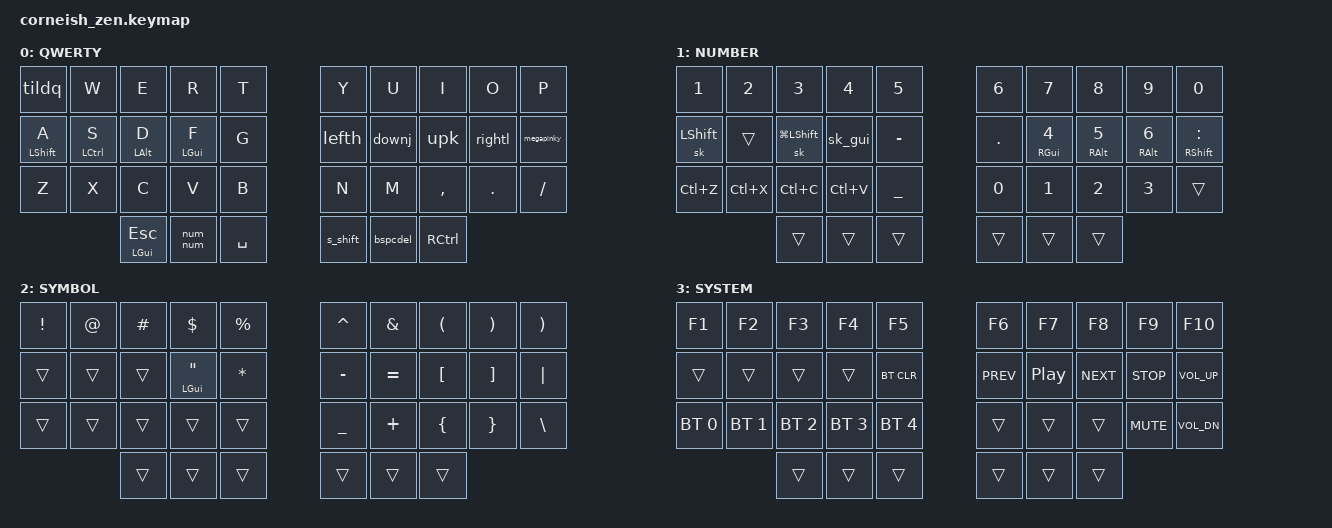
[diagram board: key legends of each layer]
/*                              36 KEY MATRIX / LAYOUT MAPPING
  ╭────────────────────┬────────────────────╮ ╭─────────────────────┬─────────────────────╮
  │  0   1   2   3   4 │  5   6   7   8   9 │ │ LT4 LT3 LT2 LT1 LT0 │ RT0 RT1 RT2 RT3 RT4 │
  │ 10  11  12  13  14 │ 15  16  17  18  19 │ │ LM4 LM3 LM2 LM1 LM0 │ RM0 RM1 RM2 RM3 RM4 │
  │ 20  21  22  23  24 │ 25  26  27  28  29 │ │ LB4 LB3 LB2 LB1 LB0 │ RB0 RB1 RB2 RB3 RB4 │
  ╰───────╮ 30  31  32 │ 33  34  35 ╭───────╯ ╰───────╮ LH2 LH1 LH0 │ RH0 RH1 RH2 ╭───────╯
          ╰────────────┴────────────╯                 ╰─────────────┴─────────────╯             */

#include <behaviors.dtsi>
#include <dt-bindings/zmk/keys.h>
#include <dt-bindings/zmk/bt.h>
#include "../zmk-nodefree-config/helper.h"
#include "../zmk-nodefree-config/keypos_def/keypos_36keys.h"

#define DEF 0
#define NUM 1 
#define SYM 2
#define SYS 3


/* use 5-column layout for Zen */
/ {
  chosen {
    zmk,matrix_transform = &five_column_transform;
  };
};

&caps_word {
    continue-list = <UNDERSCORE MINUS BSPC DEL N1 N2 N3 N4 N5 N6 N7 N8 N9 N0>;
};

/* Custom Behaviors , Require UROB ZMK patches */

// Conditional layer Hold both NUM and SYM layer key to activate SYS layer
ZMK_CONDITIONAL_LAYER(NUM SYM, SYS)

// [Home Row Mods]
ZMK_BEHAVIOR(hm, hold_tap,
    flavor = "balanced";
    tapping-term-ms = <280>;
    quick-tap-ms = <125>;
    require-prior-idle-ms = <150>; 
    bindings = <&kp>, <&kp>;
  )

// [ Mod Morphing definitions]

// tap: backspace | ralt + tap: delete | hold: sym layer
ZMK_BEHAVIOR(bspcdel, mod_morph,
    bindings = <&lt SYM BSPC>, <&kp DEL>;
    mods = <(MOD_RALT|MOD_LALT)>;
  )

// tap: Q | ralt + tap: ~  
ZMK_BEHAVIOR(tildq, mod_morph,
    bindings = <&kp Q>, <&kp TILDE>;
    mods = <(MOD_RALT|MOD_LALT)>;
  ) 

// tap: J | ralt + tap: down arrow | hold: RGUI 
ZMK_BEHAVIOR(downj, mod_morph,
    bindings = <&hm RGUI J>, <&kp DOWN>;
    mods = <(MOD_RALT|MOD_LALT)>;
  ) 

// tap: J | ralt + tap: down arrow | hold: RGUI 
ZMK_BEHAVIOR(upk, mod_morph,
    bindings = <&hm RALT K>, <&kp UP>;
    mods = <(MOD_RALT|MOD_LALT)>;
  )

// tap: L | ralt + tap: right arrow | hold: RCTL 
ZMK_BEHAVIOR(rightl, mod_morph,
    bindings = <&hm RCTRL L>, <&kp RIGHT>;
    mods = <(MOD_RALT|MOD_LALT)>;
  ) 

// tap: H | ralt + tap: left arrow  
ZMK_BEHAVIOR(lefth, mod_morph,
    bindings = <&kp H>, <&kp LEFT>;
    mods = <(MOD_RALT|MOD_LALT)>;
  )

// tap: ; | ralt + tap: ' | shift + tap: : | double tap: " 
ZMK_BEHAVIOR(megapinky, mod_morph,
   bindings = <&q_quote>, <&kp APOS>;
   mods = <(MOD_RALT|MOD_LALT)>;
  )
 
// [ Num_Word (like CAPS-WORDS) ]
&num_word {
   layers = <NUM>;                                
   continue-list = <BACKSPACE DELETE DOT COMMA COLON UNDERSCORE>; 
   ignore-numbers;                                
};

// [ Tap dance definitions ]

// SUPER_SHIFT tap: RETURN | hold: RSHIFT | double-tap: CAPS_WORD 
ZMK_BEHAVIOR(s_shift, tap_dance,
    tapping-term-ms = <200>;
    bindings = <&mt RSHFT RET>, <&caps_word>;
  )

// Sticky GUI tap: PLUS | hold:LGUI | double-tap: Sticky LGUI
ZMK_BEHAVIOR(sk_gui, tap_dance,
    tapping-term-ms = <200>;
    bindings = <&hm LGUI  PLUS>, <&sk LGUI>;
  )

// Quick Quotes tap: SEMI | hold: RSHIFT | double-tap: Double Quotes 
ZMK_BEHAVIOR(q_quote, tap_dance,
    tapping-term-ms = <200>;
    bindings = <&hm RSHFT SEMI>, <&kp DQT>;
  )

// Num Num tap: TAB | hold: NUM Layer | double-tap: &num_word 
ZMK_BEHAVIOR(num_num, tap_dance,
    tapping-term-ms = <200>;
    bindings = <&lt NUM TAB>, <&num_word>;
  )

// tick_tilda: tap: Q | ralt + tap: ~ | double-tap: `
ZMK_BEHAVIOR(tick_tilda, tap_dance,
    tapping-term-ms = <200>;
    bindings = <&tildq>, <&kp grave>;
  )

/* Key Mapping */

ZMK_LAYER(QWERTY,
// ╭──────────────┬─────────────┬─────────────┬─────────────┬─────────────╮      ╭─────────────┬─────────────┬──────────────┬─────────────┬─────────────╮
// │    Q/[`]/(~) │      W      │    E        │    R        │    T        │      │    Y        │    U        │    I         │    O        │    P        │
      &tildq           &kp W        &kp E         &kp R         &kp T                &kp Y         &kp U         &kp I          &kp O         &kp P      
// ├──────────────┼─────────────┼─────────────┼─────────────┼─────────────┤      ├─────────────┼─────────────┼──────────────┼─────────────┼─────────────┤
// │    A         │    S        │    D        │    F        │    G        │      │ H/(←)       │ J/RGUI/(↓)  │ K/RALT/(↑)   │ L/RCTRL/(→) │ ;/:/["]/(') │
     &hm LSHFT A     &hm LCTRL S  &hm LALT D    &hm LGUI F      &kp G                &lefth      &downj         &upk          &rightl       &megapinky      
// ├──────────────┼─────────────┼─────────────┼─────────────┼─────────────┤      ├─────────────┼─────────────┼──────────────┼─────────────┼─────────────┤
// │    Z         │    X        │    C        │    V        │    B        │      │    N        │    M        │    , <       │    . >      │    / ?      │
       &kp Z         &kp X         &kp C         &kp V         &kp B                 &kp N         &kp M         &kp COMMA      &kp DOT       &kp FSLH   
// ╰──────────────┴─────────────├─────────────┼─────────────┼─────────────┤      ├─────────────┼─────────────┼──────────────┼─────────────┴─────────────╯
//                              │  ESC/GUI     TAB/NUM/(NW) │    SPC      │      │ENT/SHFT/(CW)│BSP/SYM/[DEL]│    CTRL      │
                                  &mt LGUI ESC   &num_num      &kp SPACE             &s_shift    &bspcdel       &kp RCTRL    
//                              ╰─────────────┴─────────────┴─────────────╯      ╰─────────────┴─────────────┴──────────────╯
)

ZMK_LAYER(NUMBER,
// ╭─────────────┬─────────────┬─────────────┬─────────────┬─────────────╮       ╭─────────────┬─────────────┬─────────────┬─────────────┬─────────────╮
// │    1 !      │     2 @     │    3 #      │      4 $    │    5        │       │     6       │     7       │     8       │     9       │    0        │
     &kp N1         &kp N2        &kp N3          &kp N4       &kp N5                  &kp N6       &kp N7        &kp N8        &kp N9      &kp N0 
// ├─────────────┼─────────────┼─────────────┼─────────────┼─────────────┤       ├─────────────┼─────────────┼─────────────┼─────────────┼─────────────┤
// │             │             │             │+/LGUI/[LGUI]│    -        │       │     .       │     4       │     5       │     6       │   :         │
     &sk LSHIFT    &trans       &sk LG(LSHIFT)   &sk_gui      &kp MINUS             &kp DOT      &hm RGUI N4   &hm RALT N5   &hm RALT N6 &hm RSHFT COLON 
// ├─────────────┼─────────────┼─────────────┼─────────────┼─────────────┤       ├─────────────┼─────────────┼─────────────┼─────────────┼─────────────┤
// │  UNDO/bg%   │  CUT        │ COPY/SIGINIT   PASTE      │    _        │       │     0       │     1       │     2       │     3       │             │
      &kp LC(Z)     &kp LC(X)     &kp LC(C)    &kp LC(V)      &kp UNDER              &kp N0        &kp N1       &kp N2        &kp N3       &trans
// ╰─────────────┴─────────────┼─────────────┼─────────────┼─────────────┤       ├─────────────┼─────────────┼─────────────┼─────────────┴─────────────╯
//                             │             │             │             │       │             │             │             │                            
                                  &trans         &trans       &trans                &trans        &trans        &trans
//                             ╰─────────────┴─────────────┴─────────────╯       ╰─────────────┴─────────────┴─────────────╯
)

ZMK_LAYER(SYMBOL,
// ╭─────────────┬─────────────┬─────────────┬─────────────┬─────────────╮       ╭─────────────┬─────────────┬─────────────┬──────────────┬────────────╮
// │  !          │  @          │  #          │  $          │  %          │       │  ^          │  &          │  (          │  )           │  )         │
      &kp EXCL      &kp AT        &kp HASH      &kp DLLR      &kp PRCNT             &kp CARET     &kp AMPS     &kp LPAR       &kp RPAR       &kp RPAR    
// ├─────────────┼─────────────┼─────────────┼─────────────┼─────────────│       ├─────────────┼─────────────┼─────────────┼──────────────┼────────────┤
// │             │             │             │     "       │    *        │       │  ─          │  =          │  [          │  ]           │  "|"       │
      &trans        &trans        &trans      &hm LGUI DQT    &kp ASTRK             &kp MINUS     &kp EQUAL     &kp LBKT      &kp RBKT       &kp PIPE 
// ├─────────────┼─────────────┼─────────────┼─────────────┼─────────────│       ├─────────────┼─────────────┼─────────────┼─────────────┼─────────────┤
// │             │             │             │             │             │       │  ─          │  +          │  {          │  }          │    \        │
      &trans        &trans        &trans        &trans        &trans                &kp UNDER     &kp PLUS      &kp LBRC      &kp RBRC      &kp BSLH    
// ╰─────────────┴─────────────┼─────────────┼─────────────┼─────────────│       ├─────────────┼─────────────┼─────────────┼─────────────┴─────────────╯
//                             │             │             │             │       │             │             │             │                            
                                  &trans         &trans        &trans                &trans        &trans        &trans
//                             ╰─────────────┴─────────────┴─────────────╯       ╰─────────────┴─────────────┴─────────────╯
)

ZMK_LAYER(SYSTEM,
// ╭─────────────┬─────────────┬─────────────┬─────────────┬─────────────╮       ╭─────────────┬─────────────┬─────────────┬─────────────┬─────────────╮
// │             │             │             │             │             │       │             │             │             │             │             │
     &kp F1        &kp F2        &kp F3        &kp F4        &kp F5                 &kp F6      &kp F7        &kp F8        &kp F9        &kp F10
// ├─────────────┼─────────────┼─────────────┼─────────────┼─────────────┤       ├─────────────┼─────────────┼─────────────┼─────────────┼─────────────┤
// │             │             │             │             │  BT clear   │       │   CPREV     │ PLAY/PAUSE  │   NEXT      │    STOP     │    VOL UP   │
      &trans         &trans        &trans       &trans        &bt BT_CLR             &kp C_PREV     &kp C_PP     &kp C_NEXT   &kp C_STOP   &kp C_VOL_UP
// ├─────────────┼─────────────┼─────────────┼─────────────┼─────────────┤       ├─────────────┼─────────────┼─────────────┼─────────────┼─────────────┤
// │ BT0         │    BT1      │   BT2       │  BT3        │  BT4        │       │             │             │             │    MUTE     │   VOL UP    │
    &bt BT_SEL 0  &bt BT_SEL 1  &bt BT_SEL 2  &bt BT_SEL 3  &bt BT_SEL 4              &trans      &trans      &trans        &kp C_MUTE     &kp C_VOL_DN 
// ╰─────────────┴─────────────┼─────────────┼─────────────┼─────────────┤       ├─────────────┼─────────────┼─────────────┼─────────────┴─────────────╯
//                             │             │             │             │       │             │             │             │                            
                                  &trans         &trans       &trans                &trans        &trans        &trans
//                             ╰─────────────┴─────────────┴─────────────╯       ╰─────────────┴─────────────┴─────────────╯
)
